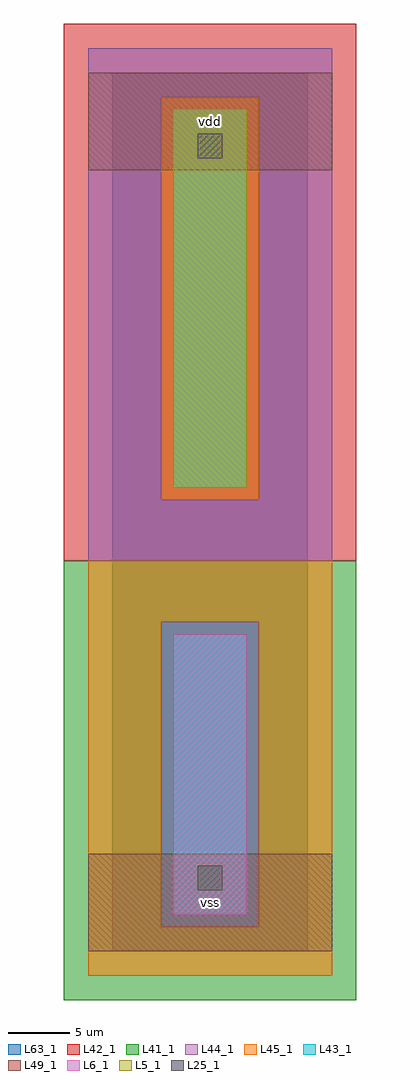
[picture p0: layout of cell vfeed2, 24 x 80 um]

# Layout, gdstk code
import gdstk
lib = gdstk.Library(unit=1e-6, precision=1e-09)
def R(c, l, rs):  # rectangles x0, y0, x1, y1
    for r in rs: c.add(gdstk.rectangle(r[:2], r[2:], *l))
L5_1 = (5, 1)
L6_1 = (6, 1)
L25_1 = (25, 1)
L41_1 = (41, 1)
L42_1 = (42, 1)
L43_1 = (43, 1)
L44_1 = (44, 1)
L45_1 = (45, 1)
L49_1 = (49, 1)
L63_1 = (63, 1)

vfeed2 = lib.new_cell('vfeed2')
R(vfeed2, L5_1, [(5,38,11,69)])
R(vfeed2, L6_1, [(5,3,11,26), (5,3,11,26)])
R(vfeed2, L25_1, [(7,5,9,7), (7,65,9,67)])
R(vfeed2, L41_1, [(-4,-4,20,32)])
R(vfeed2, L42_1, [(-4,32,20,76)])
R(vfeed2, L43_1, [(5,3,11,26), (5,38,11,69)])
R(vfeed2, L44_1, [(4,2,12,27), (-2,32,18,37), (-2,37,4,70), (12,37,18,70), (-2,70,18,74)])
R(vfeed2, L45_1, [(-2,-2,18,2), (-2,2,4,27), (12,2,18,27), (-2,27,18,32), (4,37,12,70)])
R(vfeed2, L49_1, [(-2,0,18,8), (-2,64,18,72)])
R(vfeed2, L63_1, [(0,0,16,72)])
vfeed2.add(gdstk.Label('vss', (8,4), layer=49, texttype=1))
vfeed2.add(gdstk.Label('vdd', (8,68), layer=49, texttype=1))

lib.write_gds('vfeed2.gds')
